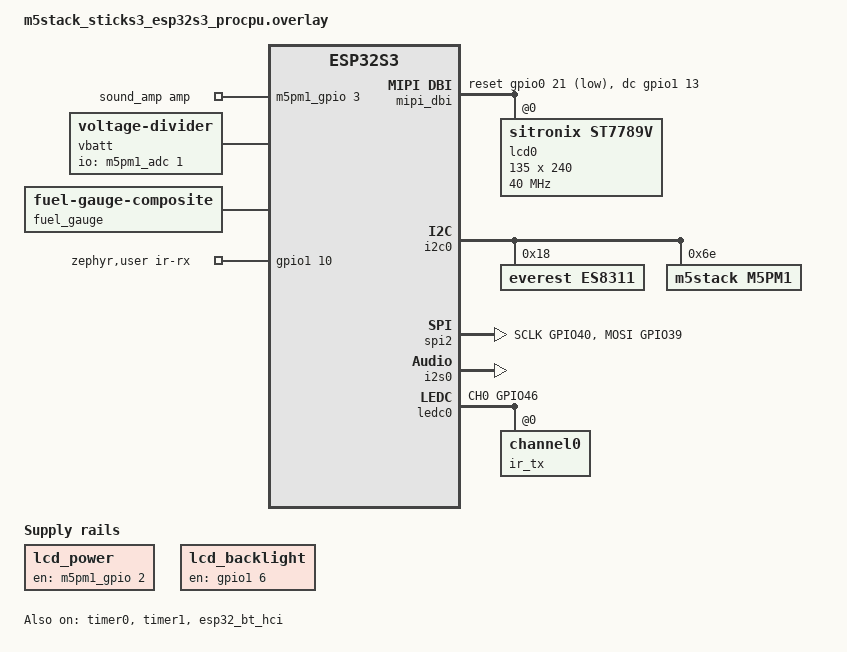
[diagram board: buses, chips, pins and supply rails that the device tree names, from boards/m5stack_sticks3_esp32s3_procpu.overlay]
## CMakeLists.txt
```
cmake_minimum_required(VERSION 3.20.0)
find_package(Zephyr REQUIRED HINTS $ENV{ZEPHYR_BASE})
project(m5sticks3_validation)

target_sources(app PRIVATE src/main.c src/ui.c src/status.c src/font.c src/gfx.c src/battery.c)
target_sources_ifdef(CONFIG_APP_BLE app PRIVATE src/ble.c)
target_sources_ifdef(CONFIG_APP_AUDIO app PRIVATE src/audio.c src/audio_dsp.c)
target_sources_ifdef(CONFIG_APP_IR app PRIVATE src/ir.c src/nec.c)
target_sources_ifdef(CONFIG_APP_WIFI app PRIVATE src/wifi.c src/wifi_glue.c)
target_sources_ifdef(CONFIG_APP_PSRAM app PRIVATE src/psram.c)
```

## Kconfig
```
# Copyright (c) 2026
# SPDX-License-Identifier: Apache-2.0

mainmenu "M5StickS3 validation app"

config APP_DISPLAY_DEMO
	bool "Diagnostics page colour-cycle + backlight blink"
	default y
	help
	  When enabled, the diagnostics page (PAGE_DIAG) cycles the LCD through
	  R/G/B/W fills and periodically blinks the backlight via the regulator
	  API, to exercise the display and the M5PM1 power-rail control on
	  hardware.

	  Disable it (for example -DCONFIG_APP_DISPLAY_DEMO=n) for a quiet
	  diagnostics page (static black fill); the other pages are unaffected.

config APP_BLE
	bool "BLE advertising + GATT telemetry"
	default n
	help
	  When enabled, the app brings up the Bluetooth LE controller and starts
	  connectable + scannable advertising that carries the device name and a
	  manufacturer-specific telemetry payload (uptime, battery mV, accel mg).
	  It also exposes a custom 128-bit GATT service with a READ + NOTIFY
	  telemetry characteristic, and adds a BLE status page to the UI.

	  This pulls in the full Bluetooth host + the Espressif controller HAL,
	  so it requires the binary blob: run `west blobs fetch hal_espressif`
	  before building. It is off by default so the standard build stays
	  blob-free. Enable it via -DEXTRA_CONF_FILE=overlay-ble.conf, which also
	  turns on CONFIG_BT and the peripheral role.

config APP_AUDIO
	bool "ES8311 audio (440 Hz beep)"
	default n
	help
	  When enabled, the app brings up the on-board ES8311 codec on I2S0 and
	  adds an AUDIO page that plays a short 440 Hz beep when the page is
	  entered. The AW8737 speaker amplifier (M5PM1 GPIO3) is enabled only for
	  the duration of the beep.

	  This needs CONFIG_AUDIO / CONFIG_AUDIO_CODEC (ES8311) and CONFIG_I2S
	  (esp32-i2s + DMA). It is off by default so the standard build is
	  unchanged; enable it via -DEXTRA_CONF_FILE=overlay-audio.conf, which
	  turns on the codec, I2S, and DMA Kconfigs.

config APP_AUDIO_RATE_SWEEP
	bool "ES8311 sample-rate sweep at boot (driver validation)"
	depends on APP_AUDIO
	default n
	help
	  Run a one-shot sample-rate sweep right after audio_init(): for each rate
	  the ES8311 driver claims to support (8 kHz to 48 kHz), reprogram I2S and
	  the codec, read the clock registers back off the chip over I2C, and play
	  a tone through the speaker while capturing it on the microphone. One line
	  per rate is printed with the register verdict and the captured level.

	  This exists to hardware-validate the driver's claim that one register set
	  serves every sample rate (the codec's master clock is derived from BCLK,
	  so it is 256 * Fs at every rate and the divider chain is a pure ratio).

	  It is a bring-up and validation aid, not part of the demo: leave it off
	  for normal builds.

config APP_I2S_STRESS
	bool "I2S START/DROP stress test at boot (mem-slab leak validation)"
	depends on APP_AUDIO
	default n
	help
	  Run a one-shot I2S stress test right after audio_init(): reconfigure,
	  START and DROP the full-duplex stream many times over, taking a census of
	  the TX and RX memory slabs before each cycle, and deliberately underrunning
	  TX on some of them.

	  This exists because Zephyr's ESP32 I2S driver leaks one slab block per
	  direction on every START/DROP: i2s_esp32_{rx,tx}_stop_transfer() drop the
	  block the DMA is working on without returning it to the slab. It does not
	  present as an error -- i2s_buf_write() allocates with K_FOREVER, so an
	  exhausted slab is an unkillable block with no log line -- so the census is
	  what makes it visible, and the guard is what keeps this test from hanging
	  on an unpatched tree instead of reporting.

	  It also proves that the OBVIOUS fix for the leak is wrong. Simply handing the
	  block back crashes within two cycles: on the SOC_GDMA_SUPPORTED path,
	  *_stop_transfer() calls dma_stop() and never stops the I2S unit feeding the
	  DMA, so the block is still being written when it lands back on the free list,
	  and the next allocation dereferences captured audio as a pointer. The canary
	  in this test measures it -- stamp every free RX block, hand them back, wait,
	  take them again, and exactly one comes back written to, every cycle. The leak
	  had been masking that: the block was never returned, so the stray writes went
	  where nobody would look.

	  The deliberate underruns cover a second, independent hazard. They drive the
	  driver down its tx_disable path, where the TX DMA callback has already freed
	  the block -- the one place where returning it could also be a plain double
	  free. The census sees that too: a free count above the slab's block count
	  means the free list has a cycle in it.

	  Run it against a patched tree (expect a flat census and a clean canary) and
	  against an unpatched one (expect the leak, reported rather than hung).
	  Validation aid; leave it off for normal builds.

config APP_I2S_STRESS_CYCLES
	int "How many START/DROP cycles the stress test runs"
	depends on APP_I2S_STRESS
	default 100

config APP_I2S_DMA_PARK_STATS
	bool "Report how often dma_stop() returned while the GDMA was still running"
	depends on APP_I2S_STRESS
	default n
	help
	  Print the counters exported by a dma_esp32_gdma.c patched with
	  scripts/patch_zephyr_dma_park.sh, and fail the stress if the descriptor
	  FSM ever refuses to park.

	  This exists to answer one question with a number instead of an argument.
	  dma_esp32_stop() writes the GDMA STOP bit and returns 0 without ever
	  reading the descriptor FSM's PARK bit -- the bit its own get_status()
	  uses to answer "busy". So every caller that frees or reuses a buffer on
	  the strength of a successful dma_stop(), which is what the Zephyr DMA API
	  entitles it to do, is relying on a timing property that nothing documents.

	  That is a defect in the contract whatever the silicon does. But whether
	  the FSM is EVER still running when dma_stop() returns is a question of
	  fact, and a fix for a race nobody has observed should say so rather than
	  imply it caught something. So the wait counts its own spins:

	    busy_stops = 0   the FSM had always already parked. The wait costs
	                     nothing, and the fix is about the contract only.
	    busy_stops > 0   the window is real and measured.

	  Needs the DMA patch applied; without it the counters do not exist and the
	  build will not link.

config APP_AUDIO_REC_SECONDS
	int "Record->playback clip length (seconds)"
	depends on APP_AUDIO
	default 5
	range 1 8
	help
	  Length of the mic clip recorded on the REC page, in seconds (issue #14),
	  at 16 kHz / 16-bit mono. Each second uses 32 KB of internal SRAM (dram0):
	  the default 5 s = 156 KB, which fits with margin (see
	  docs/14_RECORD_PLAYBACK_DESIGN.md baseline).

config APP_AUDIO_REC_GAIN_Q8
	int "Record->playback digital gain (Q8; 256 = 1.0x)"
	depends on APP_AUDIO
	default 2048
	range 256 8192
	help
	  Fixed-point gain applied to the recorded clip on playback so a quiet mic
	  capture is audible on the small speaker (256 = unity, 1024 = 4.0x). The
	  result saturates at the int16 range, so over-gain clips instead of
	  wrapping. Tune for clear, intelligible replay (requirement QR-1).

config APP_IR
	bool "IR transmit + receive (NEC)"
	default n
	help
	  When enabled, the app brings up consumer-IR (NEC) on the StickS3 IR LED
	  (G46) and IR receiver (G42), and adds an IR page that transmits a test NEC
	  frame on entry and shows the last decoded address/command.

	  Zephyr 4.4 has no ESP32 RMT driver, so IR uses stock PWM peripherals: the
	  LEDC PWM generates the ~38 kHz carrier (TX) and MCPWM input capture reads
	  the receiver (RX); the NEC envelope and decoding live in app/src/nec.c. It
	  is off by default so the standard build is unchanged; enable it via
	  -DEXTRA_CONF_FILE=overlay-ir.conf, which turns on CONFIG_PWM and
	  CONFIG_PWM_CAPTURE. Uses no binary blobs.

config APP_WIFI
	bool "Wi-Fi station (scan + connect)"
	default n
	depends on !APP_BLE
	help
	  When enabled, the app brings up the ESP32-S3 native Wi-Fi in station
	  mode and adds a Wi-Fi page that scans for nearby APs (SSID, signal bars,
	  security) and, with credentials configured, connects and obtains a DHCP
	  lease. The pure scan/connect/config logic lives in app/src/wifi.c
	  (unit-tested on native_sim); the wifi_mgmt/net_mgmt glue is in
	  app/src/wifi_glue.c.

	  This pulls in the full Wi-Fi driver, networking stack, and the driver's
	  bundled (ESP-IDF) supplicant, so it needs the Espressif HAL blob (west
	  blobs fetch hal_espressif). It is mutually exclusive with CONFIG_APP_BLE
	  because Wi-Fi + BLE coexistence is not a validated Zephyr configuration on
	  the ESP32-S3. Enable it via -DEXTRA_CONF_FILE=overlay-wifi.conf together with
	  -DEXTRA_DTC_OVERLAY_FILE=overlay-wifi.overlay (scripts/build_wifi.sh),
	  which also enables the &wifi node and the Wi-Fi/net Kconfigs.

config APP_WIFI_SSID
	string "Wi-Fi SSID to auto-connect to"
	depends on APP_WIFI
	default ""
	help
	  SSID the station auto-connects to a few seconds after boot. Leave it
	  empty (the default) to scan only, with no connection attempt. Provide a
	  real value from a LOCAL, untracked overlay (scripts/build_wifi.sh picks up
	  app/wifi-creds.local.conf if present) so credentials are never committed.

config APP_WIFI_PSK
	string "Wi-Fi WPA2 passphrase for CONFIG_APP_WIFI_SSID"
	depends on APP_WIFI
	default ""
	help
	  WPA2-PSK passphrase (8..63 characters) for CONFIG_APP_WIFI_SSID. An empty
	  value (the default) treats the configured SSID as an open network. Keep
	  this in a LOCAL, untracked overlay; never commit credentials.

config APP_PSRAM
	bool "Octal PSRAM self-test"
	default n
	depends on !APP_WIFI
	help
	  When enabled, the app runs a boot-time self-test of the on-board 8 MB
	  octal SPIRAM (ESP32-S3-PICO-1-N8R8, issue #13): it allocates from the
	  external PSRAM shared-multi-heap region, verifies byte read/write, and
	  confirms the buffer lands in external RAM. The result is logged on the
	  console (app/src/psram.c).

	  Enabling the PSRAM (CONFIG_ESP_SPIRAM / CONFIG_SPIRAM_MODE_OCT) consumes
	  GPIO33-37, and PSRAM together with Wi-Fi is UNSUPPORTED AND UNVALIDATED in
	  this project, hence depends on !APP_WIFI.

	  That is deliberately weaker than what this text used to say. It claimed
	  "SPIRAM breaks the Wi-Fi driver on the R8 silicon", which is a claim about
	  the hardware, and the evidence does not reach that far. zephyr#74246 reports
	  Wi-Fi failing (empty scan / OOM) with SPIRAM on, but the root cause discussed
	  there is an allocation-policy one: Wi-Fi allocations land in SPIRAM when the
	  internal heap is small, and the reporter got scanning back by raising the
	  internal heap to around 100 KB, which is roughly what overlay-psram.conf
	  already sets (CONFIG_HEAP_MEM_POOL_SIZE=98304). We have never tested the
	  combination, so what is true is that we do not support it, not that the
	  silicon cannot do it.

	  Off by default (the standard build does not use PSRAM and boots without
	  it); enable via -DEXTRA_CONF_FILE=overlay-psram.conf. Uses no binary blobs.

source "Kconfig.zephyr"
```

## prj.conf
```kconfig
CONFIG_LOG=y
CONFIG_PRINTK=y
CONFIG_GPIO=y
CONFIG_INPUT=y
CONFIG_SENSOR=y
CONFIG_DISPLAY=y
CONFIG_REGULATOR=y
CONFIG_MFD=y
CONFIG_ADC=y
# Battery state-of-charge (issue #8): voltage-only OCV fuel gauge over VBAT.
# The voltage-divider sensor + zephyr,fuel-gauge-composite driver auto-enable
# from their DT nodes; the FUEL_GAUGE subsystem must be turned on here.
CONFIG_FUEL_GAUGE=y
CONFIG_MAIN_STACK_SIZE=4096

# LCD power-rail init ordering (critical, see docs HW-003).
# The L3B regulator-fixed enables via the M5PM1 MFD gpio child, so it must
# init AFTER that gpio child (GPIO_M5PM1_INIT_PRIORITY=82) and BEFORE the
# display (DISPLAY_INIT_PRIORITY=85). The regulator-fixed default of 75 runs
# before the gpio child -> the enable-gpio write fails -> the LCD stays dark.
# Order: I2C(50) < MFD(80) < ADC_M5PM1(81) < GPIO_M5PM1(82) < regfixed(83) < display(85).
CONFIG_REGULATOR_FIXED_INIT_PRIORITY=83
```

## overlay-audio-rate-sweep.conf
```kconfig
# Copyright (c) 2026 Hsiu-Chi Tsai
# SPDX-License-Identifier: Apache-2.0
#
# Stack on top of overlay-audio.conf to run the ES8311 sample-rate sweep once at
# boot. It exists so CI compiles the sweep at all: the code sits behind
# #ifdef CONFIG_APP_AUDIO_RATE_SWEEP, which defaults to n, so without a build that
# turns it on the compiler never sees ~250 lines of it and a green CI says nothing
# about them.
#
# Not for normal images: the sweep reprograms I2S and the codec nine times and
# drives the speaker, then restores the application's own configuration.
CONFIG_APP_AUDIO_RATE_SWEEP=y
```

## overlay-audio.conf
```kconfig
# Copyright (c) 2026 Hsiu-Chi Tsai
# SPDX-License-Identifier: Apache-2.0
#
# ES8311 audio overlay (P5) for the M5StickS3 validation app.
#
# Enable with:
#   west build -p always -b m5stack_sticks3/esp32s3/procpu app \
#       -- -DEXTRA_CONF_FILE=overlay-audio.conf
#
# This brings up the on-board ES8311 codec on I2S0 and adds an AUDIO page that
# plays a short 440 Hz beep on entry. CONFIG_APP_AUDIO is kept OUT of the
# default prj.conf so the standard build stays unchanged (no codec/I2S/DMA).

# App feature gate (adds src/audio.c, the AUDIO UI page, and audio_init()).
CONFIG_APP_AUDIO=y

# Audio subsystem + ES8311 codec (I2C control, I2S data).
CONFIG_AUDIO=y
CONFIG_AUDIO_CODEC=y
CONFIG_AUDIO_CODEC_ES8311=y

# I2S transport + GDMA (the esp32-i2s driver requires DMA on the esp32s3).
CONFIG_I2S=y
CONFIG_I2S_ESP32=y
CONFIG_DMA=y

# Playback make-up gain (Q8, 256 = 1.0x): boost the quiet mic capture so the clip
# is audible on the small speaker. 4x is a conservative starting point below the
# 8x Kconfig default to avoid clipping loud syllables; tune by ear.
CONFIG_APP_AUDIO_REC_GAIN_Q8=1024
```

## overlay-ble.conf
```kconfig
# Copyright (c) 2026 Hsiu-Chi Tsai
# SPDX-License-Identifier: Apache-2.0
#
# BLE telemetry overlay for the M5StickS3 validation app.
#
# Enable with:
#   west build -p always -b m5stack_sticks3/esp32s3/procpu app \
#       -- -DEXTRA_CONF_FILE=overlay-ble.conf
#
# This pulls in the Bluetooth host + the Espressif controller HAL blob, so run
#   west blobs fetch hal_espressif
# first. CONFIG_BT is intentionally kept OUT of the default prj.conf so the
# standard build stays blob-free and CI-green.

# App feature gate (adds src/ble.c, the BLE UI page, and the init/update calls).
CONFIG_APP_BLE=y

# Bluetooth LE, peripheral (GATT server) role only.
CONFIG_BT=y
CONFIG_BT_PERIPHERAL=y

# Advertised / GAP name. We place this name into the advertising data
# ourselves (BT_DATA_NAME_COMPLETE), so a dynamic name is not required.
CONFIG_BT_DEVICE_NAME="StickS3"

# GATT server with at least one connection and notifications enabled. The
# default peripheral connection count (1) is sufficient for the demo.
CONFIG_BT_GATT_DYNAMIC_DB=y
CONFIG_BT_MAX_CONN=1
CONFIG_BT_MAX_PAIRED=1
```

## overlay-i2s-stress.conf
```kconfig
# I2S START/DROP stress test (mem-slab leak validation).
#
# Use WITH overlay-audio.conf:
#   west build ... -- -DEXTRA_CONF_FILE='overlay-audio.conf;overlay-i2s-stress.conf'
#
# Reconfigures, STARTs and DROPs the full-duplex stream 100 times, taking a census of
# the TX and RX memory slabs before each cycle and deliberately starving TX on every
# fifth. Zephyr's ESP32 I2S driver leaks the DMA's in-flight slab block on every DROP;
# i2s_buf_write() allocates with K_FOREVER, so an exhausted slab is a silent unkillable
# block rather than an error. Run this against a patched tree (expect a flat census)
# and against an unpatched one (expect the leak, reported rather than hung).
#
# See scripts/patch_zephyr_i2s_leak.sh and docs/06_RISK_REGISTER.md.
CONFIG_APP_I2S_STRESS=y
```

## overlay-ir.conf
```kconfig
# App feature gate (adds src/ir.c + src/nec.c, the IR UI page, and ir_init()).
CONFIG_APP_IR=y

# LEDC PWM drives the ~38 kHz IR TX carrier (G46). IR RX (G42) is read as a
# plain GPIO edge interrupt (CONFIG_GPIO is already on in prj.conf), so no PWM
# capture driver is needed.
CONFIG_PWM=y
```

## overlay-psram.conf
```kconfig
# Octal PSRAM (issue #13). Enables the on-board 8 MB octal SPIRAM on the
# ESP32-S3-PICO-1-N8R8 and runs a boot self-test (app/src/psram.c) that proves
# the external RAM is mapped and read/writable. Uses no binary blobs.
#
# Build:  west build -p always -b m5stack_sticks3/esp32s3/procpu app \
#           -- -DEXTRA_CONF_FILE=overlay-psram.conf
#
# Mutually exclusive with Wi-Fi (overlay-wifi.conf): PSRAM + Wi-Fi is UNSUPPORTED
# AND UNVALIDATED in this project. We have never tested the combination, and the
# reported failure (zephyr#74246, empty scan / OOM) is an allocation-policy problem
# -- Wi-Fi buffers land in SPIRAM when the internal heap is small, and the reporter
# recovered scanning by raising it -- not a property of the silicon. CONFIG_APP_PSRAM
# depends on !APP_WIFI, and a BUILD_ASSERT in main.c guards the raw CONFIG_ESP_SPIRAM
# + CONFIG_WIFI combination.
CONFIG_APP_PSRAM=y

# Octal-mode external PSRAM (consumes GPIO33-37). Kept at the default clock:
# CONFIG_SPIRAM_SPEED_80M (Espressif's recommended octal clock) pulls in
# mspi_timing_tuning, which references mspi_timing_config_* symbols that are not
# built in this configuration, so the link fails. The default speed builds and
# is enough to prove the RAM works, matching the in-tree esp32s3_eye octal board.
CONFIG_ESP_SPIRAM=y
CONFIG_SPIRAM_MODE_OCT=y

# CONFIG_ESP_SPIRAM auto-enables SHARED_MULTI_HEAP, and the SoC registers the
# 8 MB PSRAM (sized by the board's esp32s3_pico_n8r8.dtsi &psram0 node) as an
# external shared-multi-heap region; the self-test allocates from it.
CONFIG_SHARED_MULTI_HEAP=y

# System-heap pool, matching the upstream spiram_test sample.
CONFIG_HEAP_MEM_POOL_SIZE=98304
```

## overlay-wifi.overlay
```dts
/* SPDX-License-Identifier: Apache-2.0 */

/*
 * Enable the ESP32-S3 native Wi-Fi node for the Wi-Fi build only. The board DTS
 * keeps &wifi disabled until the feature is runtime-verified on hardware, so
 * this overlay is what turns it on (paired with overlay-wifi.conf).
 */

&wifi {
	status = "okay";
};
```

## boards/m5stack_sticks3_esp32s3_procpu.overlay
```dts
/*
 * Copyright (c) 2026 Hsiu-Chi Tsai
 *
 * SPDX-License-Identifier: Apache-2.0
 *
 * What the StickS3 carries beyond the upstream board definition. Upstream owns
 * the console, the two buttons, the BMI270 and the core buses; this adds the
 * display, audio, IR, the PMIC children and the battery gauge. Pin map source:
 * the M5Stack official StickS3 PinMap, see docs/09_SOURCES.md.
 */

#include <zephyr/dt-bindings/adc/adc.h>
#include <zephyr/dt-bindings/battery/battery.h>
#include <zephyr/dt-bindings/display/panel.h>
#include <zephyr/dt-bindings/pinctrl/esp-pinctrl-common.h>
#include <zephyr/dt-bindings/pinctrl/esp32s3-pinctrl.h>
#include <zephyr/dt-bindings/pinctrl/esp32s3-gpio-sigmap.h>

&pinctrl {
	i2s0_default: i2s0_default {
		group1 {
			pinmux = <I2S0_MCLK_GPIO18>,
				 <I2S0_O_BCK_GPIO17>,
				 <I2S0_O_WS_GPIO15>,
				 <I2S0_O_SD_GPIO14>,
				 <I2S0_I_SD_GPIO16>;
		};
	};

	spim2_default: spim2_default {
		group1 {
			pinmux = <SPIM2_SCLK_GPIO40>;
		};

		group2 {
			pinmux = <SPIM2_MOSI_GPIO39>;
			output-low;
		};
	};

	ledc0_default: ledc0_default {
		group1 {
			pinmux = <LEDC_CH0_GPIO46>;
			output-enable;
		};
	};
};

/ {
	chosen {
		zephyr,bt-hci = &esp32_bt_hci;
		zephyr,display = &lcd0;
	};

	aliases {
		imu0 = &bmi270;
		i2c-0 = &i2c0;
		adc-0 = &m5pm1_adc;
	};

	/*
	 * AW8737 speaker-amplifier enable, gated by M5PM1 GPIO3 (PYG3). Driver-less
	 * on purpose: app/src/audio.c reads amp-gpios and drives it high only while
	 * playing, which is what keeps the pop out. A gpio-leds or regulator node
	 * would enable it at boot instead. The MFD gpio child writes masked, so
	 * pin 3 leaves the neighbouring L3B bit on pin 2 alone.
	 */
	sound_amp: sound-amp {
		compatible = "m5stack,sticks3-amp";
		status = "okay";
		amp-gpios = <&m5pm1_gpio 3 GPIO_ACTIVE_HIGH>;
	};

	/*
	 * LCD/MIC/SPK power domain (L3B), gated by M5PM1 GPIO2 (PYG2).
	 * regulator-boot-on brings it up before the display; the 100 ms delay is the
	 * vendor settle time (HW-003 power-before-init).
	 */
	lcd_power: lcd-l3b {
		compatible = "regulator-fixed";
		regulator-name = "lcd-l3b";
		enable-gpios = <&m5pm1_gpio 2 GPIO_ACTIVE_HIGH>;
		regulator-boot-on;
		startup-delay-us = <100000>;
	};

	/* Backlight enable, BL = G38. Only lights once the L3B rail is up. */
	lcd_backlight: lcd-backlight {
		compatible = "regulator-fixed";
		regulator-name = "lcd-backlight";
		enable-gpios = <&gpio1 6 GPIO_ACTIVE_HIGH>;
		regulator-boot-on;
	};

	/*
	 * ST7789P3 LCD on SPI2 through the MIPI-DBI SPI shim. MOSI G39, SCK G40
	 * (pinctrl), CS G41, DC G45, RST G21. Panel geometry, offsets and inversion
	 * come from the vendor M5GFX StickS3 configuration.
	 */
	mipi_dbi: mipi-dbi {
		compatible = "zephyr,mipi-dbi-spi";
		spi-dev = <&spi2>;
		dc-gpios = <&gpio1 13 GPIO_ACTIVE_HIGH>;
		reset-gpios = <&gpio0 21 GPIO_ACTIVE_LOW>;
		write-only;
		#address-cells = <1>;
		#size-cells = <0>;

		lcd0: st7789v@0 {
			compatible = "sitronix,st7789v";
			reg = <0>;
			mipi-max-frequency = <40000000>;
			mipi-mode = "MIPI_DBI_MODE_SPI_4WIRE";

			width = <135>;
			height = <240>;
			x-offset = <52>;
			y-offset = <40>;

			vcom = <0x19>;
			gctrl = <0x35>;
			vrhs = <0x12>;
			vdvs = <0x20>;
			mdac = <0x00>;
			gamma = <0x01>;
			pixel-format = <PANEL_PIXEL_FORMAT_RGB_565>;
			lcm = <0x2c>;
			porch-param = [0c 0c 00 33 33];
			cmd2en-param = [5a 69 02 01];
			pwctrl1-param = [a4 a1];
			pvgam-param = [d0 04 0d 11 13 2b 3f 54 4c 18 0d 0b 1f 23];
			nvgam-param = [d0 04 0c 11 13 2c 3f 44 51 2f 1f 1f 20 23];
			ram-param = [00 e0];
			rgb-param = [40 02 14];
		};
	};

	/*
	 * Battery state of charge (issue #8). The M5PM1 reports voltages only, so
	 * SoC comes from VBAT through the voltage-only composite gauge:
	 * m5pm1_adc ch1 -> vbatt (unity divider, microvolt passthrough) -> gauge.
	 * See docs/02_SDD.md section 4.5.1.
	 */
	vbatt: vbatt {
		compatible = "voltage-divider";
		io-channels = <&m5pm1_adc 1>;
		output-ohms = <1>;
	};

	fuel_gauge: fuel-gauge {
		compatible = "zephyr,fuel-gauge-composite";
		source-primary = <&vbatt>;
		device-chemistry = "lithium-ion-polymer";
		ocv-capacity-table-0 = <BATTERY_OCV_CURVE_LITHIUM_ION_POLYMER_DEFAULT>;
		charge-full-design-microamp-hours = <250000>;
	};

	zephyr,user {
		/* IR receiver output, G42 = gpio1 pin 10, idles high, read as an edge. */
		ir-rx-gpios = <&gpio1 10 GPIO_PULL_UP>;
	};
};

&i2c0 {
	/*
	 * The codec shares the L3B rail, which regulator-boot-on brings up at init.
	 * Its node carries no supply link and CONFIG_DEVICE_DEPS is off, so without
	 * deferred-init it would probe before the rail settles and fail to read the
	 * chip id (HW-016 codec-power-before-probe). audio_init() calls
	 * device_init() from main context instead, long after L3B is up.
	 */
	es8311: es8311@18 {
		compatible = "everest,es8311";
		reg = <0x18>;
		status = "okay";
		zephyr,deferred-init;
		/*
		 * The on-board analog MEMS microphone is quiet enough to want the PGA
		 * maximum. The driver defaults to 0 dB because that gain sits ahead of
		 * the ADC and clipping there is unrecoverable, so this board asks for
		 * it explicitly. Measured in HW-016d.
		 */
		everest,mic-pga-gain-db = <30>;
	};

	/*
	 * M5PM1 PMIC. PYG2 gates the L3B rail (driven by lcd_power above), PYG3 the
	 * speaker amplifier. ADC channel 1 is VBAT, channel 2 is VIN.
	 */
	m5pm1: pmic@6e {
		compatible = "m5stack,m5pm1";
		reg = <0x6e>;
		status = "okay";

		m5pm1_gpio: gpio {
			compatible = "m5stack,m5pm1-gpio";
			gpio-controller;
			#gpio-cells = <2>;
			ngpios = <5>;
			status = "okay";
		};

		m5pm1_adc: adc {
			compatible = "m5stack,m5pm1-adc";
			#io-channel-cells = <1>;
			#address-cells = <1>;
			#size-cells = <0>;
			status = "okay";

			channel@1 {
				reg = <1>;
				zephyr,gain = "ADC_GAIN_1";
				zephyr,reference = "ADC_REF_INTERNAL";
				zephyr,acquisition-time = <ADC_ACQ_TIME_DEFAULT>;
				zephyr,resolution = <12>;
			};

			channel@2 {
				reg = <2>;
				zephyr,gain = "ADC_GAIN_1";
				zephyr,reference = "ADC_REF_INTERNAL";
				zephyr,acquisition-time = <ADC_ACQ_TIME_DEFAULT>;
				zephyr,resolution = <12>;
			};
		};
	};
};

&spi2 {
	#address-cells = <1>;
	#size-cells = <0>;
	status = "okay";
	pinctrl-0 = <&spim2_default>;
	pinctrl-names = "default";
	cs-gpios = <&gpio1 9 GPIO_ACTIVE_LOW>;
};

/*
 * The esp32-i2s driver #errors unless the GDMA node is okay, and i2s0 references
 * its channels. Enabling the controller is inert without CONFIG_DMA, which the
 * default build leaves off, so the default image is unchanged.
 */
&dma {
	status = "okay";
};

/*
 * I2S0 to the ES8311. Hardware-verified pins: MCLK G18, BCLK G17, WS G15,
 * DOUT G14, DIN G16. The SoC dtsi already supplies the GDMA channel bindings.
 */
&i2s0 {
	status = "okay";
	pinctrl-0 = <&i2s0_default>;
	pinctrl-names = "default";
};

/*
 * IR NEC. Zephyr has no ESP32 RMT driver, so TX (G46) is a LEDC ~38 kHz carrier
 * gated by a software envelope and RX (G42) is a plain GPIO edge interrupt; the
 * MCPWM capture path drops edges during the burst. Inert without CONFIG_PWM.
 */
&ledc0 {
	status = "okay";
	pinctrl-0 = <&ledc0_default>;
	pinctrl-names = "default";
	#address-cells = <1>;
	#size-cells = <0>;

	ir_tx: channel0@0 {
		reg = <0x0>;
		timer = <0>;
	};
};

&timer0 {
	status = "okay";
};

&timer1 {
	status = "okay";
};

&esp32_bt_hci {
	status = "okay";
};
```

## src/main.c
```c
/* SPDX-License-Identifier: Apache-2.0 */
#include <stdlib.h>

#include <zephyr/kernel.h>
#include <zephyr/device.h>
#include <zephyr/drivers/gpio.h>
#include <zephyr/input/input.h>
#include <zephyr/dt-bindings/input/input-event-codes.h>
#include <zephyr/sys/atomic.h>
#include <zephyr/sys/printk.h>

#include "pages.h"
#include "status.h"
#include "ui.h"
#ifdef CONFIG_APP_BLE
#include "ble.h"
#endif
#ifdef CONFIG_APP_AUDIO
#include "audio.h"
#endif
#ifdef CONFIG_APP_IR
#include "ir.h"
#endif
#ifdef CONFIG_APP_WIFI
#include "wifi_glue.h"
#endif
#ifdef CONFIG_APP_PSRAM
#include "psram.h"
#endif

/*
 * Wi-Fi and BLE share the ESP32-S3 radio and their coexistence is not a
 * validated Zephyr configuration, so the two stacks must never be compiled
 * together. CONFIG_APP_WIFI depends on !CONFIG_APP_BLE, but the stack Kconfigs
 * are set directly by the overlays, so guard at the stack level too.
 */
BUILD_ASSERT(!(IS_ENABLED(CONFIG_WIFI) && IS_ENABLED(CONFIG_BT)),
	     "Wi-Fi and BLE coexistence is not validated on ESP32-S3; build with "
	     "overlay-wifi.conf OR overlay-ble.conf, not both.");

/*
 * Octal PSRAM and Wi-Fi cannot coexist on the R8 silicon (enabling SPIRAM
 * breaks the Wi-Fi driver: empty scan / OOM). CONFIG_APP_PSRAM depends on
 * !APP_WIFI, but the SPIRAM/Wi-Fi stack Kconfigs come from the overlays, so
 * guard at the stack level too.
 */
BUILD_ASSERT(!(IS_ENABLED(CONFIG_ESP_SPIRAM) && IS_ENABLED(CONFIG_WIFI)),
	     "Octal PSRAM and Wi-Fi cannot coexist on the R8 silicon; build with "
	     "overlay-psram.conf OR overlay-wifi.conf, not both.");

#define LOOP_MS 1000

#ifdef CONFIG_APP_WIFI
/*
 * Wi-Fi background-scan cadence (ms): the first scan a few seconds after boot,
 * then periodically. A scan stuck in SCANNING past WIFI_SCAN_STUCK_MS is treated
 * as lost so the device keeps scanning instead of freezing.
 */
#define WIFI_SCAN_FIRST_MS  3000
#define WIFI_SCAN_PERIOD_MS 15000
#define WIFI_SCAN_STUCK_MS  30000
#define WIFI_CONNECT_AT_MS  5000 /* auto-connect this long after boot */
#endif

/* KEY1 = G11, KEY2 = G12 (hardware-confirmed; active-low, pull-up). */
#define KEY1_PIN 11
#define KEY2_PIN 12

atomic_t app_current_page = ATOMIC_INIT(PAGE_HOME);

/* Given by the input callback so the main loop re-renders immediately on a
 * button press instead of waiting out its periodic tick.
 */
K_SEM_DEFINE(nav_sem, 0, 1);

void app_page_next(void)
{
	atomic_val_t v = atomic_get(&app_current_page);

	atomic_set(&app_current_page, (v + 1) % PAGE_COUNT);
}

void app_page_prev(void)
{
	atomic_val_t v = atomic_get(&app_current_page);

	atomic_set(&app_current_page, (v + PAGE_COUNT - 1) % PAGE_COUNT);
}

#ifdef CONFIG_APP_AUDIO
/*
 * PAGE_AUDIO_REC modal state machine (issue #14). While on the REC page the two
 * buttons drive record/play/re-record/exit instead of page nav; every other
 * page is unchanged. K1 short = record (IDLE) / play (REVIEW) / stop (RECORDING);
 * K1 long (held) in REVIEW = re-record; K2 = exit to the next page.
 */
#define REC_LONGPRESS_MS 1000

static void rec_page_k1(bool long_press)
{
	switch (audio_rec_get_state()) {
	case AUDIO_REC_IDLE:
		audio_record_request();
		break;
	case AUDIO_REC_REVIEW:
		if (long_press) {
			audio_record_request(); /* hold = re-record */
		} else {
			audio_play_request();   /* tap = play */
		}
		break;
	case AUDIO_REC_RECORDING:
		audio_record_stop_request(); /* tap = stop early */
		break;
	default: /* PLAYING: ignore input */
		break;
	}
	k_sem_give(&nav_sem);
	printk("REC-PAGE K1 %s\n", long_press ? "long" : "short");
}

static void rec_page_k2(void)
{
	enum audio_rec_state s = audio_rec_get_state();

	if (s == AUDIO_REC_RECORDING || s == AUDIO_REC_PLAYING) {
		/*
		 * Don't leave mid-recording, and don't leave mid-playback: the
		 * audio thread still owns I2S/codec, so painting another page's
		 * first frame concurrently can wedge I2S (HW-016e). Per the #14
		 * button map, K2 is inert in both states.
		 */
		return;
	}
	app_page_next(); /* exit -> next page */
	k_sem_give(&nav_sem);
}
#endif /* CONFIG_APP_AUDIO */

/*
 * gpio-keys reports KEY1/KEY2 via the input subsystem. On most pages the
 * callback only advances the atomic page index (KEY1 next, KEY2 prev) on press.
 * On PAGE_AUDIO_REC it is modal (see above): K1 is decided on RELEASE so a short
 * vs long press can be told apart, and K2 exits on press. All drawing happens in
 * the main loop.
 */
static void input_cb(struct input_event *evt, void *user_data)
{
	ARG_UNUSED(user_data);

	if (evt->type != INPUT_EV_KEY) {
		return;
	}

#ifdef CONFIG_APP_AUDIO
	if (app_page_get() == PAGE_AUDIO_REC) {
		/* k1_armed guards against the RELEASE of the very press that
		 * navigated INTO this page firing a spurious action (that press
		 * was handled below as page-nav, so it never armed K1 here).
		 */
		static int64_t k1_down_ms;
		static bool k1_armed;

		if (evt->code == INPUT_KEY_0) {
			if (evt->value != 0) {
				k1_down_ms = k_uptime_get();
				k1_armed = true;
			} else if (k1_armed) {
				k1_armed = false;
				rec_page_k1((k_uptime_get() - k1_down_ms) >=
					    REC_LONGPRESS_MS);
			}
		} else if (evt->code == INPUT_KEY_1 && evt->value != 0) {
			rec_page_k2();
			/* If K2 exited the page mid-K1-hold, disarm K1: otherwise
			 * the (ignored) release lands off-page and k1_armed stays
			 * set, so the release of the press that later navigates
			 * back in would fire a spurious REC action.
			 */
			if (app_page_get() != PAGE_AUDIO_REC) {
				k1_armed = false;
			}
		}
		return;
	}
#endif

	if (evt->value == 0) {
		return; /* page nav is press-only */
	}

	if (evt->code == INPUT_KEY_0) {
		app_page_next();
	} else if (evt->code == INPUT_KEY_1) {
		app_page_prev();
	} else {
		return;
	}

	k_sem_give(&nav_sem); /* wake the loop -> instant redraw */
	printk("BUTTON code=%u -> page=%ld\n", evt->code,
	       (long)atomic_get(&app_current_page));
}
INPUT_CALLBACK_DEFINE(NULL, input_cb, NULL);

int main(void)
{
	printk("M5StickS3 Zephyr validation app\n");
	printk("Board: %s\n", CONFIG_BOARD);

#ifdef CONFIG_APP_PSRAM
	/* Run the PSRAM self-test early, before the UI/feature inits below start
	 * their worker threads. Allocating from the external shared-multi-heap is
	 * reliable during init, but an older Zephyr showed a multi-threaded hang
	 * when allocating from the main loop with threads running (upstream
	 * zephyr#98137); keeping it in the least-threaded window matches the
	 * upstream spiram_test sample and avoids that exposure.
	 */
	/*
	 * The result used to be discarded. A failing PSRAM then produced a device
	 * that booted, drew its UI and reported itself alive, with one LOG_ERR
	 * buried in the stream: exactly the shape of a false pass, for a human and
	 * for a log parser alike. This is validation firmware, so say it loudly and
	 * say it in a form that is greppable.
	 */
	if (!psram_selftest()) {
		printk("\n"
		       "*** PSRAM SELF-TEST FAILED ***\n"
		       "*** This image is NOT validated. A normal-looking boot is not a "
		       "pass. ***\n\n");
	}
#endif

	const struct device *g0 = DEVICE_DT_GET(DT_NODELABEL(gpio0));

	status_init();
	ui_init();
#ifdef CONFIG_APP_AUDIO
	(void)audio_init();
#ifdef CONFIG_APP_AUDIO_RATE_SWEEP
	/*
	 * Driver validation, before any page can claim the codec. Blocks for a few
	 * seconds and restores the app's own audio configuration when it returns.
	 *
	 * The banner is the machine-readable result. Without it the only record of a
	 * failed rate is one line in the middle of the sweep's own output, and the UI
	 * comes up and reports the device alive either way, so a log parser -- or a
	 * person skimming -- would see a healthy boot and miss it.
	 */
	if (audio_rate_sweep() < 0) {
		printk("*** ES8311 CLOCK/ROUTE/CAPTURE SWEEP FAILED ***\n");
	} else {
		printk("*** ES8311 CLOCK/ROUTE/CAPTURE SWEEP PASSED ***\n");
	}
#endif
#ifdef CONFIG_APP_I2S_STRESS
	/*
	 * The I2S mem-slab leak, made visible, and the tx_disable path the fix for it
	 * has to be safe on. Same banner discipline as the sweep: the verdict is a line
	 * a log parser can act on, because the UI comes up and reports the device alive
	 * either way.
	 */
	if (audio_i2s_stress() < 0) {
		printk("*** I2S SLAB STRESS FAILED ***\n");
	} else {
		printk("*** I2S SLAB STRESS PASSED ***\n");
	}
#endif
#endif
#ifdef CONFIG_APP_BLE
	(void)ble_init();
#endif
#ifdef CONFIG_APP_IR
	(void)ir_init();
#endif
#ifdef CONFIG_APP_WIFI
	(void)wifi_glue_init();
#endif

	while (1) {
		struct app_status st;
		enum app_page page = app_page_get();

#ifdef CONFIG_APP_AUDIO
		/*
		 * The live mic meter (folded into the REC page's READY/REVIEW screens)
		 * runs the capture thread. Run it only while on the REC page and NOT
		 * actively recording/playing (those own I2S instead). Stop it BEFORE
		 * painting any other context and (re)start AFTER painting, so a page's
		 * first paint is never concurrent with the I2S session start/stop
		 * (HW-016e). The thread services a record/play request ahead of the
		 * meter, so pressing K1 breaks out of metering cleanly.
		 */
		/* Snapshot the state once: the audio thread can transition it
		 * between reads, so two getter calls could disagree and yield a
		 * torn meter decision.
		 */
		enum audio_rec_state rec_st = audio_rec_get_state();
		bool meter = (page == PAGE_AUDIO_REC) &&
			     (rec_st == AUDIO_REC_IDLE ||
			      rec_st == AUDIO_REC_REVIEW);

		if (!meter) {
			audio_capture_set(false);
		}
#endif

		status_sample(&st);
		ui_render(page, &st);

#ifdef CONFIG_APP_AUDIO
		if (meter) {
			audio_capture_set(true);
		}
#endif
#ifdef CONFIG_APP_BLE
		ble_update(&st);
#endif
#ifdef CONFIG_APP_IR
		/*
		 * Transmit a test NEC frame once on ENTERING the IR page (a loopback
		 * blink, phone-camera visible). Stay quiet afterwards so RX can
		 * receive an external remote cleanly, without TX self-interference.
		 */
		{
			static enum app_page ir_prev = PAGE_COUNT;

			if (page == PAGE_IR && page != ir_prev && ir_ready()) {
				ir_tx_test();
			}
			ir_prev = page;
		}
		{
			static uint32_t ir_rx_seen;
			uint32_t n = ir_rx_count();

			if (n != ir_rx_seen) {
				uint8_t a = 0;
				uint8_t c = 0;

				ir_rx_seen = n;
				(void)ir_rx_last(&a, &c);
				printk("IR RX addr=0x%02x cmd=0x%02x (#%u)\n", a, c,
				       (unsigned int)n);
			}
		}
#endif
#ifdef CONFIG_APP_WIFI
		/*
		 * Start a scan on ENTERING the Wi-Fi page, and otherwise every ~15 s
		 * (first at ~3 s after boot, then periodically) so the AP list stays
		 * fresh and a scan is always present on the serial log. Results arrive
		 * asynchronously and are logged by the glue.
		 */
		{
			static enum app_page wifi_prev = PAGE_COUNT;
			static int64_t wifi_last_scan;
			static bool wifi_conn_tried;

			/*
			 * Auto-connect once, a few seconds after boot, when an SSID is
			 * configured (from the local, untracked credentials overlay). With
			 * no SSID the literal is empty at compile time and this is skipped,
			 * so the default build only scans.
			 */
			if (!wifi_conn_tried && sizeof(CONFIG_APP_WIFI_SSID) > 1 &&
			    st.uptime_ms > WIFI_CONNECT_AT_MS) {
				enum wifi_sec sec = (sizeof(CONFIG_APP_WIFI_PSK) > 1)
							    ? WIFI_SEC_PSK
							    : WIFI_SEC_NONE;

				wifi_conn_tried = true;
				(void)wifi_glue_connect(CONFIG_APP_WIFI_SSID,
							CONFIG_APP_WIFI_PSK, sec);
			}

			if (page == PAGE_WIFI && page != wifi_prev) {
				if (wifi_glue_scan_start() == 0) {
					wifi_last_scan = st.uptime_ms;
				}
			} else if (st.uptime_ms > WIFI_SCAN_FIRST_MS &&
				   wifi_glue_conn_state() != M5WIFI_STATE_CONNECTED &&
				   (wifi_last_scan == 0 ||
				    st.uptime_ms - wifi_last_scan > WIFI_SCAN_PERIOD_MS)) {
				/*
				 * A scan in flight normally blocks a new one, but a scan stuck
				 * in SCANNING past WIFI_SCAN_STUCK_MS is treated as lost (the
				 * esp32 driver can accept the request yet never emit SCAN_DONE
				 * under OOM/RF-busy) so scanning resumes instead of freezing.
				 * Background scanning stops once CONNECTED (scanning while
				 * associated drops frames).
				 */
				bool busy = wifi_glue_state() == WIFI_GLUE_SCANNING;
				int64_t age = st.uptime_ms - wifi_last_scan;

				if (!busy || age > WIFI_SCAN_STUCK_MS) {
					if (wifi_glue_scan_start() == 0) {
						wifi_last_scan = st.uptime_ms;
					}
				}
			}
			wifi_prev = page;
		}
#endif

		int k1 = device_is_ready(g0) ? gpio_pin_get_raw(g0, KEY1_PIN) : -1;
		int k2 = device_is_ready(g0) ? gpio_pin_get_raw(g0, KEY2_PIN) : -1;

		printk("alive uptime_ms=%lld page=%d KEY1=%d KEY2=%d bat=%d soc=%d "
		       "vin=%d imu=%d accel=[%d.%06d %d.%06d %d.%06d]\n",
		       st.uptime_ms, page, k1, k2, st.bat_mv, st.soc_pct, st.vin_mv,
		       st.imu_ok, st.accel[0].val1, abs(st.accel[0].val2),
		       st.accel[1].val1, abs(st.accel[1].val2),
		       st.accel[2].val1, abs(st.accel[2].val2));

		/*
		 * Wake early on a button press; otherwise tick every LOOP_MS, but
		 * faster on the AUDIO page so the live mic meter updates smoothly.
		 */
		uint32_t tick_ms = LOOP_MS;
#ifdef CONFIG_APP_AUDIO
		if (page == PAGE_AUDIO_REC) {
			tick_ms = 250; /* live meter / record countdown + state */
		}
#endif
		k_sem_take(&nav_sem, K_MSEC(tick_ms));
	}

	return 0;
}
```

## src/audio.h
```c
/*
 * Copyright (c) 2026 Hsiu-Chi Tsai
 *
 * SPDX-License-Identifier: Apache-2.0
 */
#ifndef M5STICKS3_AUDIO_H
#define M5STICKS3_AUDIO_H

#include <stdbool.h>
#include <stdint.h>

/*
 * ES8311 audio (P5). The whole module is gated behind CONFIG_APP_AUDIO; when
 * the option is off the functions are not declared and the source is not
 * compiled, so the default build is unchanged.
 */
#ifdef CONFIG_APP_AUDIO

/*
 * Bring up the codec + I2S TX path: configure the ES8311 for 16 kHz / 16-bit
 * I2S playback at a safe low volume, configure I2S0 TX as master, and leave
 * the speaker amplifier OFF. Returns 0 on success, negative errno otherwise.
 */
int audio_init(void);

/* True once audio_init() has succeeded and a beep can be played. */
bool audio_ready(void);

/*
 * Play a short 440 Hz tone on the speaker. The amplifier is enabled only for
 * the duration of the tone (anti-pop) and disabled again afterwards. The
 * PAGE_AUDIO entry plays one beep as a speaker self-check; HW-006-verified.
 */
void audio_beep(void);

/*
 * Acoustic loopback self-test (issue #6, bring-up primitive; not auto-run by the
 * UI): play the 440 Hz tone while capturing the on-board mic over I2S full-duplex,
 * printing per-block RMS/peak on serial. NOTE: at the codec's low playback volume
 * the tiny on-board speaker is too weak to couple acoustically to the adjacent
 * mic, so the beep phase reads ~0 - this is the weak-stimulus confound that
 * HW-016d resolved, NOT a mic fault (a loud external sound drives the same path
 * to full scale; see the live mic capture thread, audio_capture_set()). Blocking,
 * ~0.3 s; amp on only for the beep phase.
 */
void audio_loopback(void);

/*
 * Enable/disable the live mic-capture thread (issue #6). Set true while the
 * PAGE_AUDIO page is up: a dedicated thread then runs ONE continuous full-duplex
 * capture session and updates the level reported by audio_mic_level()/_bars()
 * ~8x/sec, so the meter tracks sound live. Gated to the page (one start on enter,
 * one stop on leave) so the I2S/codec only run while in use. The UI thread itself
 * never touches I2S -- it only reads the level -- which is what keeps the SPI
 * display stable (a per-render capture in the UI thread corrupted it; HW-016e).
 */
void audio_capture_set(bool on);

/*
 * The latest mic RMS (0..32767) from the capture thread (0 when the page is not
 * up / capture is off). audio_mic_bars() maps a GIVEN level to a 0..4 bar -- pass
 * one audio_mic_level() read to both so the bar and the printed RMS always agree
 * (the capture thread updates the level asynchronously).
 */
uint16_t audio_mic_level(void);
uint8_t audio_mic_bars(uint16_t level);

/*
 * Record -> playback demo (issue #14). A fixed-length mono clip is recorded
 * from the mic into RAM, then played back through the speaker, proving the full
 * audio-DATA round trip (mic -> ADC -> I2S RX -> RAM -> I2S TX -> DAC -> amp ->
 * speaker), beyond the level meter (#6) and the synthesised tone (#3). The
 * record/playback runs on the audio capture thread; the UI thread only issues
 * the requests and reads the state below, and NEVER touches I2S (HW-016e).
 */
enum audio_rec_state {
	AUDIO_REC_IDLE = 0,  /* nothing recorded yet (initial / empty) */
	AUDIO_REC_RECORDING, /* capturing the clip ("speak now") */
	AUDIO_REC_REVIEW,    /* a clip is held -- ready to play / re-record */
	AUDIO_REC_PLAYING,   /* playing the held clip back */
};

/*
 * Ask the audio thread to (re)record a clip of CONFIG_APP_AUDIO_REC_SECONDS.
 * Picked up when the thread is idle (not already recording/playing); a no-op
 * until audio_init() has succeeded.
 */
void audio_record_request(void);

/* Ask the audio thread to play the held clip back. No-op if nothing is held. */
void audio_play_request(void);

/* Ask the audio thread to stop the in-progress recording early (keeps what was
 * captured so far). A no-op when not recording.
 */
void audio_record_stop_request(void);

/* Current record/playback state, for the UI. */
enum audio_rec_state audio_rec_get_state(void);

/* Peak capture RMS (0..32768) of the last recording, for on-screen feedback. */
uint16_t audio_rec_peak(void);

/* Length of the held clip in milliseconds (0 if nothing is recorded). */
uint32_t audio_rec_len_ms(void);

#ifdef CONFIG_APP_AUDIO_RATE_SWEEP
/*
 * Hardware validation for the ES8311 driver: reprogram I2S + the codec at every
 * sample rate the driver claims to support, read the clock registers back off
 * the chip, measure the frame clock against the kernel cycle counter, and check
 * the ADC is alive. Prints one line per rate, then restores the application's own
 * 16 kHz configuration and measures THAT before handing the device back.
 *
 * Returns 0 only if every rate passed AND the restore is measured good. A
 * validation routine whose result lives only in stdout cannot be acted on, and a
 * sweep that leaves the device unable to play has not passed. Blocks for a few
 * seconds; call it once, from main.
 */
int audio_rate_sweep(void);
#endif

#ifdef CONFIG_APP_I2S_STRESS
/*
 * Hammer I2S START/DROP, taking a census of the TX and RX memory slabs before each
 * cycle and deliberately starving TX on some of them.
 *
 * Zephyr's ESP32 I2S driver loses the DMA's in-flight slab block on every DROP, and
 * i2s_buf_write() allocates with K_FOREVER -- so an exhausted slab is not an error,
 * it is a silent, unkillable block. The census makes the leak visible; the guard
 * makes this REPORT on an unpatched tree rather than hang in it.
 *
 * The canary makes something else visible: that simply handing the block back is NOT
 * the fix. On the GDMA path the driver stops the DMA channel and never the I2S unit
 * feeding it, so the block is still being written when it goes back on the free list.
 * The starved cycles cover a second hazard -- the tx_disable path, where the TX
 * callback has already freed the block, so returning it could also be a plain double
 * free; a free count above the slab's block count is how that would show.
 *
 * Returns 0 only if every cycle ran and the census never moved. Blocks for a few
 * seconds; call it once, from main.
 */
int audio_i2s_stress(void);
#endif

#endif /* CONFIG_APP_AUDIO */

#endif /* M5STICKS3_AUDIO_H */
```

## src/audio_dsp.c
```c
/* SPDX-License-Identifier: Apache-2.0 */
/*
 * Pure capture-DSP helpers (see audio_dsp.h). No Zephyr headers, so this builds
 * and is unit-tested on native_sim (tests/drivers/audio_dsp). Mirrors the nec.c
 * (pure) / ir.c (hardware) split used elsewhere in this repo.
 */

#include "audio_dsp.h"

uint32_t audio_isqrt(uint32_t x)
{
	uint32_t bit = 1UL << 30; /* highest power of four <= UINT32_MAX */
	uint32_t res = 0;

	while (bit > x) {
		bit >>= 2;
	}
	while (bit != 0U) {
		if (x >= res + bit) {
			x -= res + bit;
			res = (res >> 1) + bit;
		} else {
			res >>= 1;
		}
		bit >>= 2;
	}

	return res;
}

uint16_t audio_rms_i16(const int16_t *samples, size_t n)
{
	uint64_t sumsq = 0;

	if (samples == NULL || n == 0U) {
		return 0;
	}

	for (size_t i = 0; i < n; i++) {
		int32_t s = samples[i]; /* |s| <= 32768, so s*s fits int32 */

		sumsq += (uint64_t)(s * s);
	}

	/* mean square <= 32768^2 fits uint32; isqrt yields 0..32768. */
	return (uint16_t)audio_isqrt((uint32_t)(sumsq / n));
}

uint16_t audio_peak_i16(const int16_t *samples, size_t n)
{
	uint16_t peak = 0;

	if (samples == NULL || n == 0U) {
		return 0;
	}

	for (size_t i = 0; i < n; i++) {
		int32_t s = samples[i];
		uint32_t mag = (s < 0) ? (uint32_t)(-s) : (uint32_t)s;

		if (mag > 32767U) {
			mag = 32767U; /* clamp |INT16_MIN| */
		}
		if (mag > peak) {
			peak = (uint16_t)mag;
		}
	}

	return peak;
}

void audio_deinterleave(const int16_t *interleaved, size_t frames, uint8_t slot, int16_t *out)
{
	/*
	 * slot is a slot INDEX (0/1), not a channel count: slot > 1 is a no-op so a
	 * stray count argument leaves out unchanged (loud empty capture) instead of
	 * silently aliasing to slot 1.
	 */
	if (interleaved == NULL || out == NULL || frames == 0U || slot > 1U) {
		return;
	}

	for (size_t i = 0; i < frames; i++) {
		out[i] = interleaved[(i * 2U) + slot];
	}
}

uint8_t audio_level_bars(uint16_t level, uint16_t full, uint8_t nbars)
{
	if (full == 0U || nbars == 0U) {
		return 0;
	}
	if (level >= full) {
		return nbars;
	}

	return (uint8_t)(((uint32_t)level * nbars) / full);
}

void audio_interleave_mono(const int16_t *mono, size_t frames, int16_t *out)
{
	if (mono == NULL || out == NULL || frames == 0U) {
		return;
	}

	for (size_t i = 0; i < frames; i++) {
		out[(i * 2U)] = mono[i];      /* left  */
		out[(i * 2U) + 1U] = mono[i]; /* right */
	}
}

void audio_gain_clip_i16(const int16_t *in, size_t n, uint16_t gain_q8, int16_t *out)
{
	if (in == NULL || out == NULL || n == 0U) {
		return;
	}

	for (size_t i = 0; i < n; i++) {
		/* |in| <= 32768 and gain_q8 <= 65535, so the product fits int32. */
		int32_t v = ((int32_t)in[i] * (int32_t)gain_q8) / 256;

		if (v > 32767) {
			v = 32767;
		} else if (v < -32768) {
			v = -32768;
		}
		out[i] = (int16_t)v;
	}
}
```

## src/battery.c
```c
/*
 * Copyright (c) 2026 Hsiu-Chi Tsai
 *
 * SPDX-License-Identifier: Apache-2.0
 */
#include "battery.h"

uint8_t bat_soc_bars(int soc, uint8_t nbars)
{
	if (soc <= 0 || nbars == 0U) {
		return 0U;
	}
	if (soc >= 100) {
		return nbars;
	}

	/* Rounded: (soc * nbars + 50) / 100. soc is 1..99 here, so the product
	 * fits an int and the result is in 0..nbars-1.
	 */
	return (uint8_t)(((soc * (int)nbars) + 50) / 100);
}

bool bat_power_present(int vin_mv)
{
	return vin_mv >= BAT_VIN_PRESENT_MV;
}
```

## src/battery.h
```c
/*
 * Copyright (c) 2026 Hsiu-Chi Tsai
 *
 * SPDX-License-Identifier: Apache-2.0
 */
#ifndef M5STICKS3_BATTERY_H
#define M5STICKS3_BATTERY_H

#include <stdbool.h>
#include <stdint.h>

/*
 * Pure battery-display helpers (no Zephyr headers, native_sim-testable). The
 * state-of-charge percent itself comes from the upstream
 * zephyr,fuel-gauge-composite OCV lookup (issue #8); these only map it to a UI
 * bar and classify the power source from the VIN reading. Mirrors the nec.c /
 * audio_dsp.c pure-logic split.
 */

/*
 * VIN (mV) at or above this means external 5V / USB power is present. On battery
 * the M5PM1 VIN reads far below this; with USB attached it reads ~5000 mV. This
 * is a coarse "ext power present" signal, NOT a charge-state read (the M5PM1 has
 * no reliable charging-status register).
 */
#define BAT_VIN_PRESENT_MV 4000

/*
 * Map a state-of-charge percent (0..100) to a 0..nbars bar count, rounded and
 * clamped. A negative soc (read error) or nbars == 0 returns 0; soc >= 100
 * returns nbars.
 */
uint8_t bat_soc_bars(int soc, uint8_t nbars);

/*
 * True if external power (USB / 5V) is present, from the VIN reading in mV. A
 * negative vin_mv (read error / channel unavailable) returns false.
 */
bool bat_power_present(int vin_mv);

#endif /* M5STICKS3_BATTERY_H */
```
